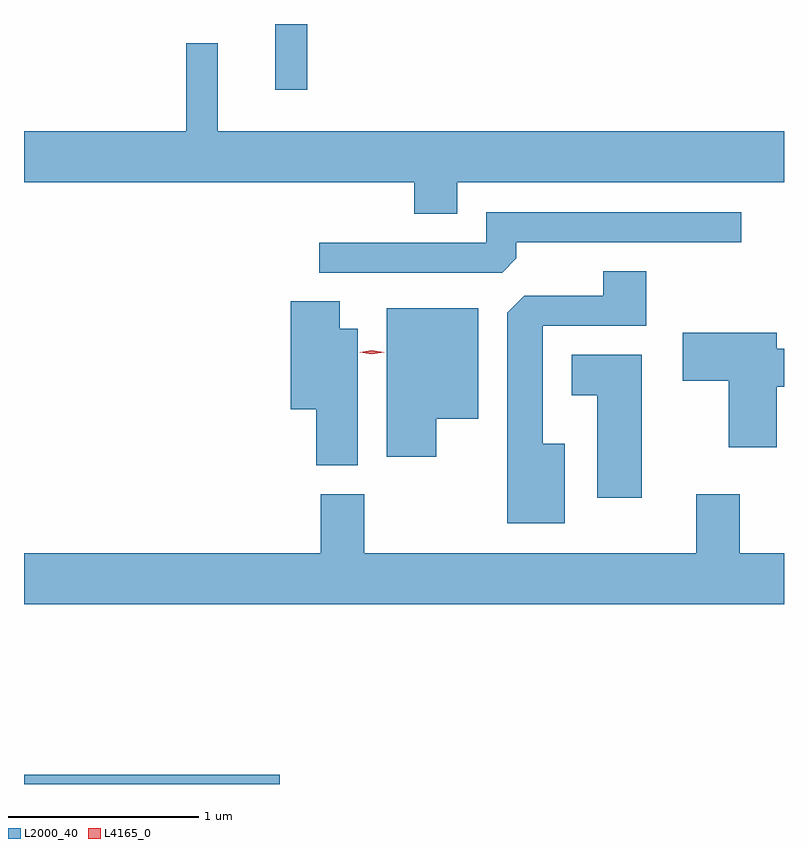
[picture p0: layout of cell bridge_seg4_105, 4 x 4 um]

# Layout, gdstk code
import gdstk
lib = gdstk.Library(unit=1e-6, precision=1e-09)
def R(c, l, rs):  # rectangles x0, y0, x1, y1
    for r in rs: c.add(gdstk.rectangle(r[:2], r[2:], *l))
def P(c, l, *ps):  # polygons
    for p in ps: c.add(gdstk.Polygon(p, *l))
L2000_40 = (2000, 40)
L4165_0 = (4165, 0)

bridge_seg4_105 = lib.new_cell('bridge_seg4_105')
R(bridge_seg4_105, L2000_40, [(941.178,1380.369,942.524,1380.419), (942.501,1384.023,942.669,1384.369)])
P(bridge_seg4_105, L2000_40, [(943.459,1383.536),(945.178,1383.536),(945.178,1383.804),(942.199,1383.804),(942.199,1384.268),(942.031,1384.268),(942.031,1383.804),(941.178,1383.804),(941.178,1383.536),(943.231,1383.536),(943.231,1383.371),(943.459,1383.371)],
  [(943.769,1383.137),(943.769,1383.221),(944.953,1383.221),(944.953,1383.379),(943.611,1383.379),(943.611,1383.219),(942.733,1383.219),(942.733,1383.061),(943.694,1383.061)],
  [(944.024,1382.159),(943.909,1382.159),(943.909,1382.781),(944.454,1382.781),(944.454,1383.069),(944.226,1383.069),(944.226,1382.939),(943.812,1382.939),(943.721,1382.849),(943.721,1381.741),(944.024,1381.741)],
  [(942.934,1382.764),(942.839,1382.764),(942.839,1382.909),(942.581,1382.909),(942.581,1382.341),(942.716,1382.341),(942.716,1382.046),(942.934,1382.046)],
  [(943.349,1382.291),(943.569,1382.291),(943.569,1382.874),(943.086,1382.874),(943.086,1382.091),(943.349,1382.091)],
  [(945.139,1382.461),(945.178,1382.461),(945.178,1382.659),(945.139,1382.659),(945.139,1382.744),(944.646,1382.744),(944.646,1382.491),(944.886,1382.491),(944.886,1382.141),(945.139,1382.141)],
  [(944.429,1382.629),(944.061,1382.629),(944.061,1382.416),(944.196,1382.416),(944.196,1381.876),(944.429,1381.876)],
  [(945.178,1381.584),(944.944,1381.584),(944.944,1381.894),(944.716,1381.894),(944.716,1381.584),(942.969,1381.584),(942.969,1381.894),(942.741,1381.894),(942.741,1381.584),(941.178,1381.584),(941.178,1381.316),(945.178,1381.316)])
P(bridge_seg4_105, L4165_0, [(943.009,1382.632),(942.944,1382.641),(942.943,1382.642),(942.944,1382.642),(943.009,1382.652),(943.075,1382.642),(943.075,1382.642),(943.075,1382.641)])

lib.write_gds('bridge_seg4_105.gds')
